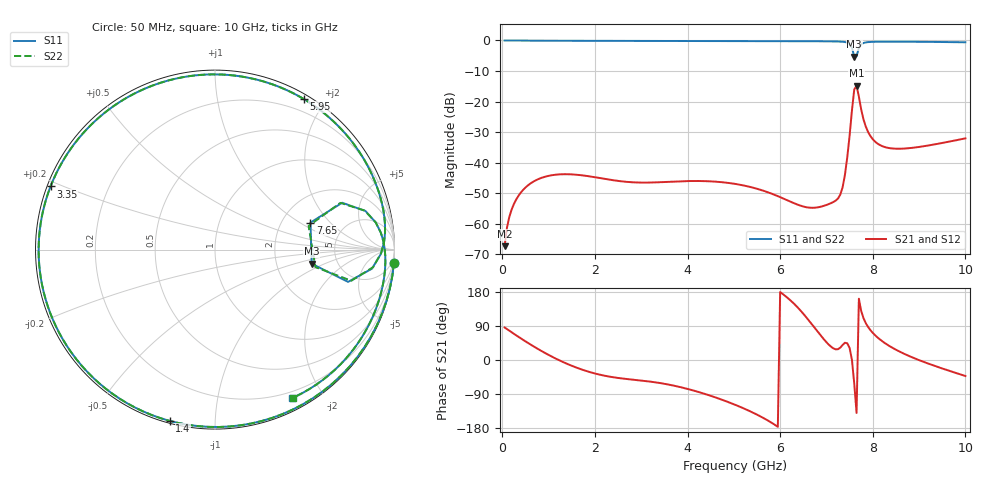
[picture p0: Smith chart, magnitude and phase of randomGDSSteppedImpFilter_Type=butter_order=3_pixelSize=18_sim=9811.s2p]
! freq	dB(S11)	phase(S11)	dB(S12)	phase(S12)
!  dB(S21)	phase(S21)	dB(S22)	phase(S22)
!S-par simulation data
#  GHz  S  DB  R 50
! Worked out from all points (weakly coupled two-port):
!   200 points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, 50 MHz to 10 GHz, reference 50 ohm
!   highest |S21| = -14.82 dB at 7.65 GHz (marker M1); lowest = -67.3 dB at 50 MHz (marker M2)
!   lowest |S11| = -5.3 dB at 7.6 GHz (marker M3), VSWR 3.39, Z = 161 - j36 ohm
!   |S11| at or under -10 dB: nowhere
!   |S22| runs from -5.4 to 0.0 dB; largest |S21 - S12| = 0
!   S11 on the Smith chart (normalised r, x): 50 MHz: 0, -27; 1.4 GHz: 0.01, -0.77; 3.35 GHz: 0.01, +0.19; 5.95 GHz: 0.05, +1.75; 7.65 GHz: 2.87, +1.24; 10 GHz: 0.13, -1.64
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0.05  -0.00 -4.2  -67.32 85.8  -67.32 85.8  -0.00 -4.2
0.2  -0.03 -16.7  -55.41 73.3  -55.41 73.3  -0.03 -16.7
0.45  -0.05 -37.0  -48.90 53.1  -48.90 53.1  -0.05 -37.0
0.9  -0.09 -71.3  -44.70 20.0  -44.70 20.0  -0.09 -71.3
1.4  -0.11 -104.8  -43.77 -10.2  -43.77 -10.2  -0.11 -104.8
1.75  -0.13 -125.5  -44.19 -26.5  -44.19 -26.5  -0.12 -125.5
2.5  -0.14 -163.8  -45.96 -47.4  -45.96 -47.4  -0.14 -163.8
3.35  -0.16 159.0  -46.42 -59.7  -46.42 -59.7  -0.16 159.1
3.4  -0.16 157.0  -46.39 -60.7  -46.39 -60.7  -0.16 157.0
4.25  -0.19 123.2  -46.00 -84.9  -46.00 -84.9  -0.18 123.3
5.05  -0.21 92.8  -47.00 -119.3  -47.00 -119.3  -0.21 92.9
5.95  -0.23 59.6  -50.95 -176.4  -50.95 -176.4  -0.23 59.7
6.7  -0.26 32.3  -54.77 91.8  -54.77 91.8  -0.26 32.4
7.3  -0.38 8.2  -50.41 32.8  -50.41 32.8  -0.38 8.5
7.45  -0.69 -1.6  -38.14 44.1  -38.14 44.1  -0.67 -1.2
7.55  -2.35 -13.6  -22.95 0.5  -22.95 0.5  -2.17 -12.9
7.6  -5.28 -8.3  -16.04 -62.3  -16.04 -62.3  -4.92 -9.9
7.65  -5.15 15.8  -14.82 -139.7  -14.82 -139.7  -5.39 14.2
7.7  -2.44 20.2  -18.39 161.8  -18.39 161.8  -2.55 20.4
7.9  -0.54 2.7  -29.98 87.0  -29.98 87.0  -0.54 2.8
8.35  -0.39 -15.3  -35.21 37.6  -35.21 37.6  -0.39 -15.2
10  -0.61 -62.4  -32.04 -42.3  -32.04 -42.3  -0.61 -62.4
